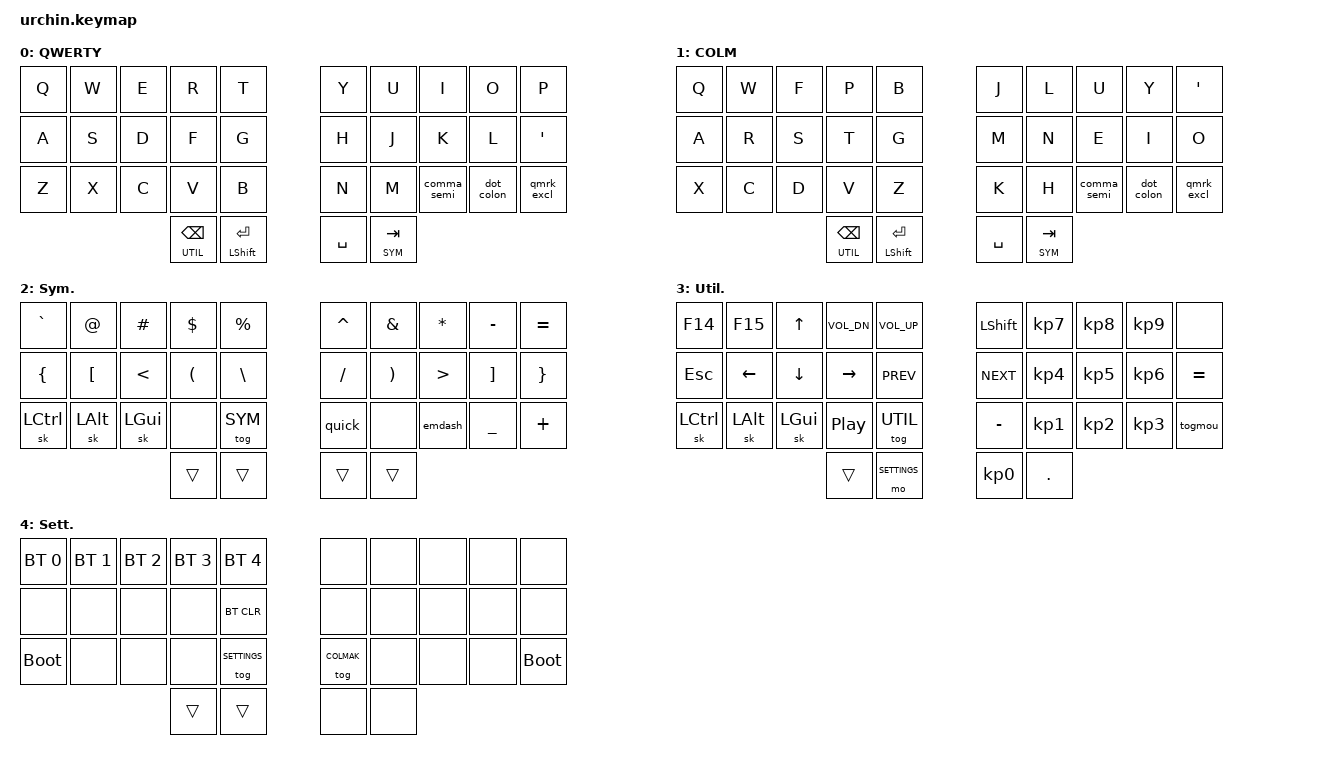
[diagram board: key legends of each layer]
//  The toggle keys don't seem to work.









#include <behaviors.dtsi>
#include <dt-bindings/zmk/keys.h>
#include <dt-bindings/zmk/bt.h>
#include <dt-bindings/zmk/outputs.h>

#define  QWERTY 0
#define COLMAK 1
#define SYM 2
#define UTIL 3
#define SETTINGS 4
// -----------------

&sk {
	// don't release mods on other mods presses
	ignore-modifiers;
};

&lt {
	// Allows for double-tapping the backspace, and producing long-backspace
	quick-tap-ms = <200>;
};


/ {
	behaviors {
		shi: shift_enter {
            // Formulated for a good shift-hold enter tap
            compatible = "zmk,behavior-hold-tap";
            #binding-cells = <2>;
            flavor = "hold-preferred"; // actuates shift on inturrupting key press
            tapping-term-ms = <200>;
            quick-tap-ms = <200>;
            hold-while-undecided; // Allows for shift + mouse click
            bindings = <&kp>, <&kp>;
        };
		comma_semi: comma_semi {
            compatible = "zmk,behavior-mod-morph";
            #binding-cells = <0>;
            bindings = <&kp COMMA>, <&kp SEMI>;
            mods = <(MOD_LSFT)>;
        };
        dot_colon: dot_colon {
            compatible = "zmk,behavior-mod-morph";
            #binding-cells = <0>;
            bindings = <&kp DOT>, <&kp COLON>;
            mods = <(MOD_LSFT)>;
        };
        qmrk_excl: qmrk_excl {
            compatible = "zmk,behavior-mod-morph";
            #binding-cells = <0>;
            bindings = <&kp QMARK>, <&kp EXCL>;
            mods = <(MOD_LSFT)>;
        };
	};

	macros {
		quick: quick {
            compatible = "zmk,behavior-macro";
            #binding-cells = <0>;
            bindings = <&kp B &kp U &kp D &kp D &kp H &kp A &kp ENTER>;
        };

        togmou: toggle_mouse {
            // Presses OPT 5x to toggle MacOS mouse control on num pad
            compatible = "zmk,behavior-macro";
            #binding-cells = <0>;
            bindings = <&kp LALT &kp LALT &kp LALT &kp LALT &kp LALT>;
        };

		emdash: emdash {
			compatible = "zmk,behavior-macro";
            #binding-cells = <0>;
			wait-ms = <20>;
			tap-ms = <20>;
			bindings
				= <&macro_press   &kp LSHIFT &kp LALT>
				, <&macro_tap     &kp MINUS>
				, <&macro_release &kp LSHIFT &kp LALT>;
			};
	};

	combos {
		compatible = "zmk,combos"; 

		// right thumb & bottom pinky
		combo_settings {
			timeout-ms = <200>;
			key-positions = <30 33>;
			bindings = <&mo SETTINGS>;
		};
	};

	keymap {
		compatible = "zmk,keymap";
		qwerty_layer {
			label = "QWERTY";
			bindings = <
// ╭─────────────┬─────────────┬─────────────┬─────────────┬─────────────╮   ╭─────────────┬─────────────┬─────────────┬─────────────┬─────────────╮
        &kp Q         &kp W         &kp E         &kp R         &kp T              &kp Y        &kp U         &kp I         &kp O         &kp P   
// ├─────────────┼─────────────┼─────────────┼─────────────┼─────────────┤   ├─────────────┼─────────────┼─────────────┼─────────────┼─────────────┤
        &kp A         &kp S         &kp D         &kp F         &kp G              &kp H        &kp J         &kp K         &kp L       &kp SQT
// ├─────────────┼─────────────┼─────────────┼─────────────┼─────────────┤   ├─────────────┼─────────────┼─────────────┼─────────────┼─────────────┤
        &kp Z         &kp X         &kp C         &kp V         &kp B              &kp N        &kp M      &comma_semi    &dot_colon    &qmrk_excl
// ╰─────────────┴─────────────┼─────────────┼─────────────┼─────────────┤   ├─────────────┼─────────────┼─────────────┼─────────────┴─────────────╯
											 &lt UTIL BSPC  &shi LSHFT RET      &kp SPACE    &lt SYM TAB
//                             				 ╰─────────────┴─────────────╯   ╰─────────────┴─────────────╯
			>;
		};

		colmak_layer {
			label = "COLM";
			bindings = <
// ╭─────────────┬─────────────┬─────────────┬─────────────┬─────────────╮   ╭─────────────┬─────────────┬─────────────┬─────────────┬─────────────╮
        &kp Q         &kp W         &kp F         &kp P         &kp B              &kp J        &kp L         &kp U         &kp Y         &kp SQT   
// ├─────────────┼─────────────┼─────────────┼─────────────┼─────────────┤   ├─────────────┼─────────────┼─────────────┼─────────────┼─────────────┤
        &kp A         &kp R         &kp S         &kp T         &kp G              &kp M        &kp N         &kp E         &kp I       &kp O
// ├─────────────┼─────────────┼─────────────┼─────────────┼─────────────┤   ├─────────────┼─────────────┼─────────────┼─────────────┼─────────────┤
        &kp X         &kp C         &kp D         &kp V         &kp Z              &kp K        &kp H      &comma_semi    &dot_colon    &qmrk_excl
// ╰─────────────┴─────────────┼─────────────┼─────────────┼─────────────┤   ├─────────────┼─────────────┼─────────────┼─────────────┴─────────────╯
											 &lt UTIL BSPC  &shi LSHFT RET      &kp SPACE    &lt SYM TAB
//                             				 ╰─────────────┴─────────────╯   ╰─────────────┴─────────────╯
			>;
		};

		sym_layer {
			label = "Sym.";
			bindings = <
// ╭─────────────┬─────────────┬─────────────┬─────────────┬─────────────╮   ╭─────────────┬─────────────┬─────────────┬─────────────┬─────────────╮
      &kp GRAVE      &kp AT       &kp HASH      &kp DOLLAR    &kp PRCNT		    &kp CARET      &kp AMPS     &kp ASTRK     &kp MINUS     &kp EQUAL
// ├─────────────┼─────────────┼─────────────┼─────────────┼─────────────┤   ├─────────────┼─────────────┼─────────────┼─────────────┼─────────────┤
       &kp LBRC      &kp LBKT   &kp LESS_THAN   &kp LPAR      &kp BSLH          &kp FSLH      &kp RPAR   &kp GREATER_THAN  &kp RBKT      &kp RBRC 
// ├─────────────┼─────────────┼─────────────┼─────────────┼─────────────┤   ├─────────────┼─────────────┼─────────────┼─────────────┼─────────────┤
       &sk LCTRL     &sk LALT      &sk LGUI      &none        &tog SYM             &quick       &none        &emdash    &kp UNDERSCORE   &kp PLUS
// ╰─────────────┴─────────────┼─────────────┼─────────────┼─────────────┤   ├─────────────┼─────────────┼─────────────┼─────────────┴─────────────╯
											      &trans       &trans            &trans        &trans
//											 ╰─────────────┴─────────────╯   ╰─────────────┴─────────────╯
			>;
		};
 
		util_layer {
			label = "Util.";
			bindings = <
// ╭─────────────┬─────────────┬─────────────┬─────────────┬─────────────╮   ╭─────────────┬─────────────┬─────────────┬─────────────┬─────────────╮
       &kp F14       &kp F15      &kp UP      &kp C_VOL_DN   &kp C_VOL_UP	    &kp LSHFT     &kp KP_N7     &kp KP_N8     &kp KP_N9       &none
// ├─────────────┼─────────────┼─────────────┼─────────────┼─────────────┤   ├─────────────┼─────────────┼─────────────┼─────────────┼─────────────┤
       &kp ESC      &kp LEFT       &kp DOWN     &kp RIGHT     &kp C_PREV 	   &kp C_NEXT     &kp KP_N4     &kp KP_N5     &kp KP_N6      &kp EQUAL
// ├─────────────┼─────────────┼─────────────┼─────────────┼─────────────┤   ├─────────────┼─────────────┼─────────────┼─────────────┼─────────────┤
       &sk LCTRL     &sk LALT      &sk LGUI     &kp C_PP     &tog UTIL         &kp MINUS      &kp KP_N1     &kp KP_N2     &kp KP_N3      &togmou
// ╰─────────────┴─────────────┼─────────────┼─────────────┼─────────────┤   ├─────────────┼─────────────┼─────────────┼─────────────┴─────────────╯
												&trans      &mo SETTINGS        &kp KP_N0     &kp DOT
//											 ╰─────────────┴─────────────╯   ╰─────────────┴─────────────╯
			>;
		};

		settings_layer {
				label = "Sett.";
				bindings = <
// ╭─────────────┬─────────────┬─────────────┬─────────────┬─────────────╮   ╭─────────────┬─────────────┬─────────────┬─────────────┬─────────────╮
    &bt BT_SEL 0  &bt BT_SEL 1  &bt BT_SEL 2  &bt BT_SEL 3   &bt BT_SEL 4         &none         &none          &none        &none          &none 
// ├─────────────┼─────────────┼─────────────┼─────────────┼─────────────┤   ├─────────────┼─────────────┼─────────────┼─────────────┼─────────────┤
       &none         &none         &none          &none      &bt BT_CLR           &none         &none          &none         &none         &none
// ├─────────────┼─────────────┼─────────────┼─────────────┼─────────────┤   ├─────────────┼─────────────┼─────────────┼─────────────┼─────────────┤
     &bootloader     &none         &none          &none     &tog SETTINGS      &tog COLMAK      &none          &none         &none     &bootloader
// ╰─────────────┴─────────────┼─────────────┼─────────────┼─────────────┤   ├─────────────┼─────────────┼─────────────┼─────────────┴─────────────╯
										          &trans        &trans             &none         &none
//											 ╰─────────────┴─────────────╯   ╰─────────────┴─────────────╯
				>;
		};
	};
};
